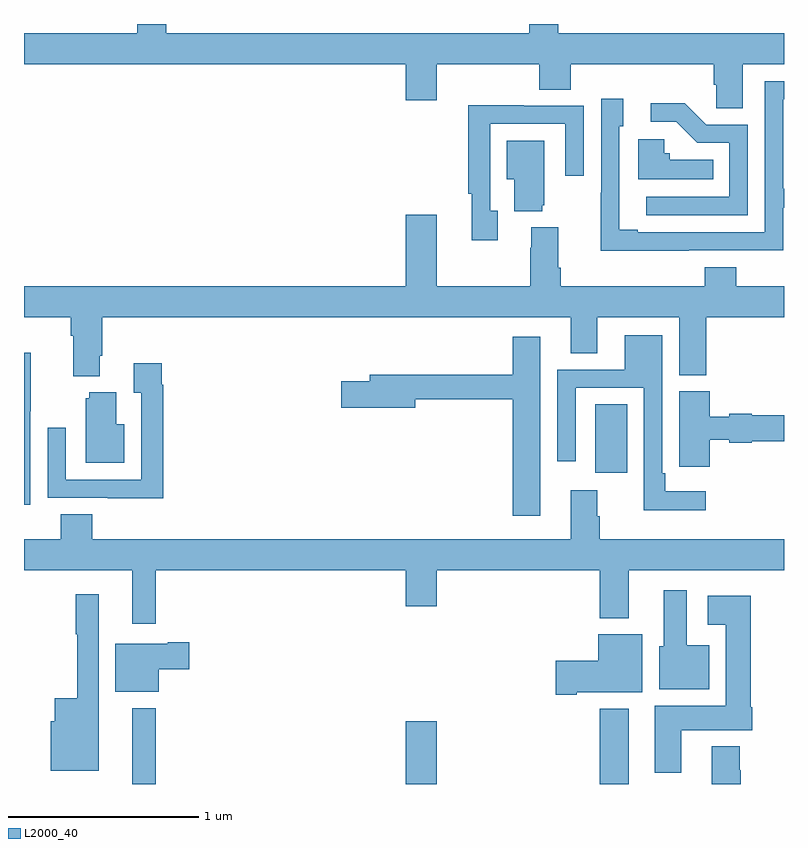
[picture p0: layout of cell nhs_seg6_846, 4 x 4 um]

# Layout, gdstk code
import gdstk
lib = gdstk.Library(unit=1e-6, precision=1e-09)
def R(c, l, rs):  # rectangles x0, y0, x1, y1
    for r in rs: c.add(gdstk.rectangle(r[:2], r[2:], *l))
def P(c, l, *ps):  # polygons
    for p in ps: c.add(gdstk.Polygon(p, *l))
L2000_40 = (2000, 40)

nhs_seg6_846 = lib.new_cell('nhs_seg6_846')
R(nhs_seg6_846, L2000_40, [(163.571,991.5,163.693,991.9), (165.008,991.5,165.172,991.831), (166.031,991.5,166.183,991.897), (166.007,993.138,166.174,993.5)])
P(nhs_seg6_846, L2000_40, [(166.783,995.288),(167,995.288),(167,995.452),(165.811,995.452),(165.811,995.5),(165.659,995.5),(165.659,995.452),(163.748,995.452),(163.748,995.5),(163.595,995.5),(163.595,995.452),(163,995.452),(163,995.288),(165.008,995.288),(165.008,995.1),(165.172,995.1),(165.172,995.288),(165.713,995.288),(165.713,995.155),(165.878,995.155),(165.878,995.288),(166.631,995.288),(166.631,995.179),(166.644,995.179),(166.644,995.056),(166.783,995.056)],
  [(166.499,994.308),(166.995,994.308),(166.995,994.533),(167,994.533),(167,994.634),(166.995,994.634),(166.995,995.103),(167,995.103),(167,995.199),(166.899,995.199),(166.899,994.404),(166.231,994.404),(166.231,994.417),(166.134,994.417),(166.134,994.962),(166.153,994.962),(166.153,995.107),(166.038,995.107),(166.038,994.613),(166.036,994.613),(166.036,994.307),(166.499,994.307)],
  [(166.809,994.971),(166.59,994.971),(166.477,995.084),(166.299,995.084),(166.299,994.986),(166.433,994.986),(166.544,994.875),(166.713,994.875),(166.713,994.59),(166.275,994.59),(166.275,994.494),(166.809,994.494)],
  [(165.493,994.518),(165.453,994.518),(165.453,994.974),(165.849,994.974),(165.849,994.701),(165.945,994.701),(165.945,995.07),(165.629,995.07),(165.629,995.072),(165.337,995.072),(165.337,994.606),(165.356,994.606),(165.356,994.362),(165.493,994.362)],
  [(166.628,994.786),(166.398,994.786),(166.398,994.821),(166.371,994.821),(166.371,994.894),(166.232,994.894),(166.232,994.682),(166.628,994.682)],
  [(165.728,994.545),(165.739,994.545),(165.739,994.885),(165.542,994.885),(165.542,994.682),(165.581,994.682),(165.581,994.514),(165.728,994.514)],
  [(163,993.956),(163.247,993.956),(163.247,993.86),(163.259,993.86),(163.259,993.647),(163.399,993.647),(163.399,993.754),(163.412,993.754),(163.412,993.956),(165.878,993.956),(165.878,993.766),(166.018,993.766),(166.018,993.956),(166.448,993.956),(166.448,993.652),(166.592,993.652),(166.592,993.956),(167,993.956),(167,994.12),(166.748,994.12),(166.748,994.219),(166.583,994.219),(166.583,994.12),(165.824,994.12),(165.824,994.216),(165.811,994.216),(165.811,994.429),(165.671,994.429),(165.671,994.322),(165.664,994.322),(165.664,994.12),(165.172,994.12),(165.172,994.495),(165.008,994.495),(165.008,994.12),(163,994.12)],
  [(166.588,993.04),(166.375,993.04),(166.375,993.136),(166.359,993.136),(166.359,993.862),(166.163,993.862),(166.163,993.681),(165.807,993.681),(165.807,993.198),(165.903,993.198),(165.903,993.585),(166.263,993.585),(166.263,992.942),(166.588,992.942)],
  [(165.718,993.853),(165.572,993.853),(165.572,993.655),(164.819,993.655),(164.819,993.621),(164.67,993.621),(164.67,993.479),(165.058,993.479),(165.058,993.526),(165.572,993.526),(165.572,992.913),(165.718,992.913)],
  [(163.032,993.463),(163.035,993.463),(163.035,993.77),(163,993.77),(163,992.97),(163.032,992.97)],
  [(163.733,993.602),(163.726,993.602),(163.726,993.715),(163.577,993.715),(163.577,993.559),(163.617,993.559),(163.617,993.102),(163.221,993.102),(163.221,993.376),(163.125,993.376),(163.125,993.006),(163.441,993.006),(163.441,993.005),(163.733,993.005)],
  [(166.61,993.311),(166.712,993.311),(166.712,993.296),(166.83,993.296),(166.83,993.304),(167,993.304),(167,993.44),(166.83,993.44),(166.83,993.448),(166.712,993.448),(166.712,993.433),(166.61,993.433),(166.61,993.567),(166.448,993.567),(166.448,993.283),(166.449,993.283),(166.449,993.171),(166.61,993.171)],
  [(163.528,993.394),(163.486,993.394),(163.486,993.562),(163.343,993.562),(163.343,993.531),(163.325,993.531),(163.325,993.191),(163.528,993.191)],
  [(163.693,992.624),(165.008,992.624),(165.008,992.436),(165.172,992.436),(165.172,992.624),(166.031,992.624),(166.031,992.372),(166.183,992.372),(166.183,992.624),(167,992.624),(167,992.788),(166.031,992.788),(166.031,992.909),(166.018,992.909),(166.018,993.046),(165.878,993.046),(165.878,992.788),(163.358,992.788),(163.358,992.921),(163.193,992.921),(163.193,992.788),(163,992.788),(163,992.624),(163.571,992.624),(163.571,992.343),(163.693,992.343)],
  [(166.606,992.23),(166.489,992.23),(166.489,992.521),(166.367,992.521),(166.367,992.226),(166.343,992.226),(166.343,992),(166.606,992)],
  [(163.393,992.5),(163.272,992.5),(163.272,992.287),(163.279,992.287),(163.279,991.951),(163.163,991.951),(163.163,991.83),(163.142,991.83),(163.142,991.571),(163.393,991.571)],
  [(166.459,991.784),(166.834,991.784),(166.834,991.905),(166.824,991.905),(166.824,992.491),(166.599,992.491),(166.599,992.339),(166.694,992.339),(166.694,991.912),(166.319,991.912),(166.319,991.56),(166.459,991.56)],
  [(165.91,991.982),(166.255,991.982),(166.255,992.287),(166.022,992.287),(166.022,992.148),(165.798,992.148),(165.798,991.97),(165.91,991.97)],
  [(163.708,992.105),(163.87,992.105),(163.87,992.247),(163.757,992.247),(163.757,992.239),(163.481,992.239),(163.481,991.985),(163.708,991.985)],
  [(166.772,991.572),(166.767,991.572),(166.767,991.699),(166.619,991.699),(166.619,991.5),(166.772,991.5)])

lib.write_gds('nhs_seg6_846.gds')
